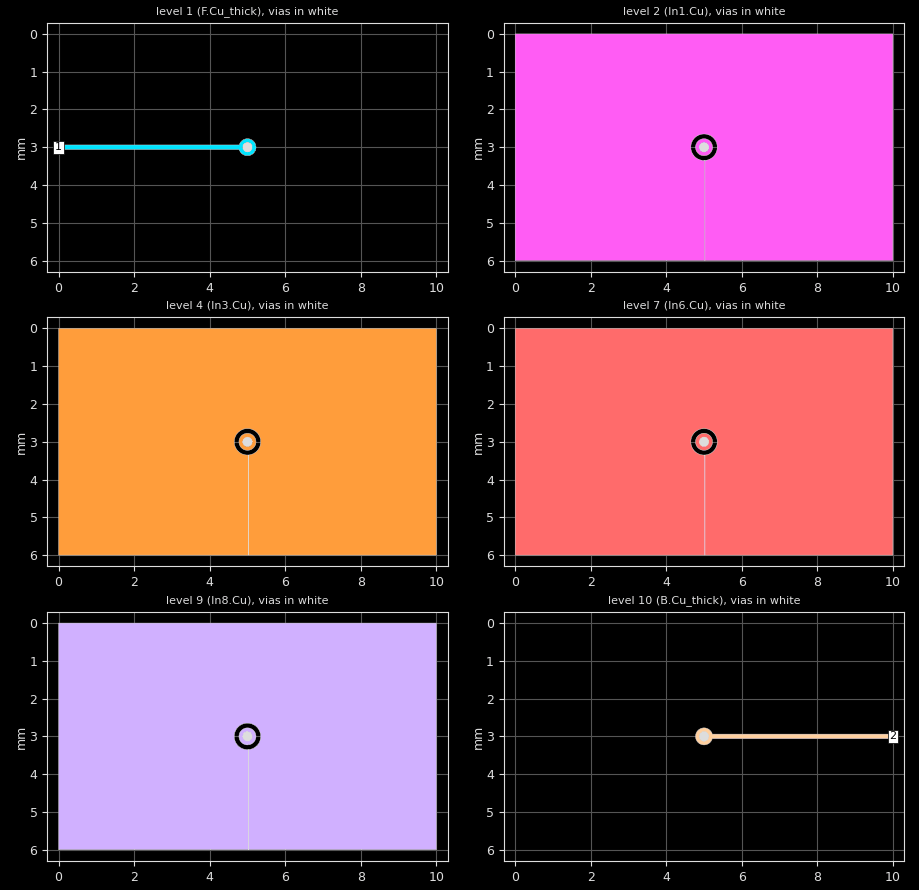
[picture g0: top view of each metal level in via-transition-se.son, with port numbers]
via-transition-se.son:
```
FTYP SONPROJ 19 ! Sonnet Project File
VER 18.56
HEADER
LIC antikernel2.1.52448
DAT 12/29/2023 07:23:59
BUILT_BY_CREATED xgeom 18.52 11/18/2021 20:28:07
BUILT_BY_SAVED sonnet 18.56
MDATE 12/29/2023 07:23:47
HDATE 12/29/2023 07:23:47
ANN Created by dxfgeo, Sonnet Software Inc.
END HEADER
DIM
ANG DEG
CAP PF
CON /OH
FREQ GHZ
IND NH
LNG MM
RES OH
END DIM
CONTROL
VARSWP
OPTIONS  -dj
SPEED 1
CACHE_ABS 2
Q_ACC N
END CONTROL
GEO
SYM
TMET "Free Space" 0 FREESPACE 376.7303136 0 0 0
BMET "Free Space" 0 FREESPACE 376.7303136 0 0 0
MET "Copper_1oz_thin" 1 NOR 58000000 0.5 0.035 
MET "Copper_1oz_thick" 2 TMM 58000000 0.5 0.035 2
MET "Copper_1oz_thick_down" 3 TMM 58000000 0.5 0.035 2 CDVY TDWN
MET "Copper_0.5oz_thin" 4 NOR 58000000 0.5 0.017 
MET "Copper_0.5oz_thick" 12 TMM 58000000 0.5 0.017 2
MET "Copper_0.5oz_thick_down" 5 TMM 58000000 0.5 0.017 2 CDVY TDWN
BOX 12 10 6 2000 1200 20 0
      5 1 1 0 0 0 0 "Air"
      0.04 3.5 1 0.025 0 0 0 "Soldermask"
      0.071 3.9 1 0.008 0 0 0 "TU-872_SLK"
      0.1 3.9 1 0.008 0 0 0 "TU-872_SLK"
      0.119 3.9 1 0.008 0 0 0 "TU-872_SLK"
      0.1 4.49 1 0.016 0 0 0 "Shengyi_S1000-2M"
      0.5 4.49 1 0.016 0 0 0 "Shengyi_S1000-2M"
      0.1 4.49 1 0.016 0 0 0 "Shengyi_S1000-2M"
      0.119 3.9 1 0.008 0 0 0 "TU-872_SLK"
      0.1 3.9 1 0.008 0 0 0 "TU-872_SLK"
      0.071 3.9 1 0.008 0 0 0 "TU-872_SLK"
      0.04 3.5 1 0.025 0 0 0 "Soldermask"
      5 1 1 0 0 0 0 "Air"
TECHLAY VIA Via1 L4D0 -13 -65534 CAD Via1 drawing 
VIA POLYGON
1 0 -1 N 398 1 1 100 100 0 0 0 Y
TOLEVEL 10 RING NOCOVERS
END
END
TECHLAY METAL F.Cu_thick L1D0 -2 -65534 CAD F.Cu_thick drawing 
1 0 1 N 331 1 1 100 100 0 0 0 Y
END
END
TECHLAY METAL F.Cu_thin <UNSPECIFIED> -1 -65534 CAD F.Cu_thin drawing 
1 0 0 N 335 1 1 100 100 0 0 0 Y
END
END
TECHLAY METAL In1.Cu L2D0 -3 -65534 CAD In1.Cu drawing 
2 0 0 N 338 1 1 100 100 0 0 0 Y
END
END
TECHLAY METAL In2.Cu_thick <UNSPECIFIED> -5 -65534 CAD In2.Cu_thick drawing 
3 0 4 N 341 1 1 100 100 0 0 0 Y
END
END
TECHLAY METAL In2.Cu_thin <UNSPECIFIED> -4 -65534 CAD In2.Cu drawing 
3 0 3 N 343 1 1 100 100 0 0 0 Y
END
END
TECHLAY METAL In3.Cu <UNSPECIFIED> -6 -65534 CAD In3.Cu drawing 
4 0 0 N 346 1 1 100 100 0 0 0 Y
END
END
TECHLAY METAL In4.Cu <UNSPECIFIED> -7 -65534 CAD In4.Cu drawing 
5 0 0 N 349 1 1 100 100 0 0 0 Y
END
END
TECHLAY METAL In5.Cu <UNSPECIFIED> -14 -65534 
6 0 0 N 352 1 1 100 100 0 0 0 Y
END
END
TECHLAY METAL In6.Cu <UNSPECIFIED> -15 -65534 
7 0 0 N 355 1 1 100 100 0 0 0 Y
END
END
TECHLAY METAL In7.Cu_thick <UNSPECIFIED> -9 -65534 CAD In5.Cu_thick drawing 
8 0 5 N 358 1 1 100 100 0 0 0 Y
END
END
TECHLAY METAL In7.Cu_thin <UNSPECIFIED> -8 -65534 CAD In5.Cu drawing 
8 0 3 N 360 1 1 100 100 0 0 0 Y
END
END
TECHLAY METAL In8.Cu <UNSPECIFIED> -10 -65534 CAD In6.Cu drawing 
9 0 0 N 363 1 1 100 100 0 0 0 Y
END
END
TECHLAY METAL B.Cu_thick L3D0 -12 -65534 CAD B.Cu_thick drawing 
10 0 2 N 366 1 1 100 100 0 0 0 Y
END
END
TECHLAY METAL B.Cu_thin <UNSPECIFIED> -11 -65534 CAD B.Cu_thin drawing 
10 0 0 N 370 1 1 100 100 0 0 0 Y
END
END
VALVAR CORE_ER NONE "table1(\"../../sata-sniffer/sims/core_er.csv\",FREQ)" "Variable set in material file"
VALVAR CORE_DF NONE "table1(\"../../sata-sniffer/sims/core_df.csv\",FREQ)" "Variable set in material file"
VALVAR PREPREG_DF NONE "table1(\"../../sata-sniffer/sims/prepreg_df.csv\",FREQ)" "Variable set in material file"
VALVAR PREPREG_ER NONE "table1(\"../../sata-sniffer/sims/prepreg_er.csv\",FREQ)" "Variable set in material file"
LORGN 0 6 U 
POR1 BOX
POLY 407 1
35
1 50 0 0 0 5.551115123e-17 3 
POR1 BOX
POLY 408 1
35
2 50 0 0 0 10 3 
NUM 11
VIA POLYGON
1 49 -1 N 411 1 1 100 100 0 0 0 Y
TOLEVEL 10 RING NOCOVERS
TLAYNAM Via1 INH
5.125 3.008192933
5.122861215 3.024438615
5.118620241 3.040266146
5.112349642 3.055404712
5.104156709 3.069595288
5.094181626 3.082595069
5.082595069 3.094181626
5.069595288 3.104156709
5.055404712 3.112349642
5.040266146 3.118620241
5.024438615 3.122861215
5.008192933 3.125
4.991807067 3.125
4.975561385 3.122861215
4.959733854 3.118620241
4.944595288 3.112349642
4.930404712 3.104156709
4.917404931 3.094181626
4.905818374 3.082595069
4.895843291 3.069595288
4.887650358 3.055404712
4.881379759 3.040266146
4.877138785 3.024438615
4.875 3.008192933
4.875 2.991807067
4.877138785 2.975561385
4.881379759 2.959733854
4.887650358 2.944595288
4.895843291 2.930404712
4.905818374 2.917404931
4.917404931 2.905818374
4.930404712 2.895843291
4.944595288 2.887650358
4.959733854 2.881379759
4.975561385 2.877138785
4.991807067 2.875
5.008192933 2.875
5.024438615 2.877138785
5.040266146 2.881379759
5.055404712 2.887650358
5.069595288 2.895843291
5.082595069 2.905818374
5.094181626 2.917404931
5.104156709 2.930404712
5.112349642 2.944595288
5.118620241 2.959733854
5.122861215 2.975561385
5.125 2.991807067
5.125 3.008192933
END
1 50 1 N 407 1 1 100 100 0 0 0 Y
TLAYNAM F.Cu_thick INH
5.043989507 3.221150188
5.072479063 3.213516434
5.099728482 3.202229355
5.125271518 3.187482076
5.148671125 3.169526927
5.169526927 3.148671125
5.187482076 3.125271518
5.202229355 3.099728482
5.213516434 3.072479063
5.221150188 3.043989507
5.225 3.014747279
5.225 3.014747279
5.225 2.985252721
5.221150188 2.956010493
5.213516434 2.927520937
5.202229355 2.900271518
5.187482076 2.874728482
5.169526927 2.851328875
5.148671125 2.830473073
5.125271518 2.812517924
5.099728482 2.797770645
5.072479063 2.786483566
5.043989507 2.778849812
5.014747279 2.775
4.985252721 2.775
4.956010493 2.778849812
4.927520937 2.786483566
4.900271518 2.797770645
4.874728482 2.812517924
4.851328875 2.830473073
4.830473073 2.851328875
4.812517924 2.874728482
4.797770645 2.900271518
4.786483566 2.927520937
4.783139811 2.94
5.551115123e-17 2.94
5.551115123e-17 3.06
4.783139811 3.06
4.786483566 3.072479063
4.797770645 3.099728482
4.812517924 3.125271518
4.830473073 3.148671125
4.851328875 3.169526927
4.874728482 3.187482076
4.900271518 3.202229355
4.927520937 3.213516434
4.956010493 3.221150188
4.985252721 3.225
5.014747279 3.225
5.043989507 3.221150188
END
2 58 0 N 414 1 1 100 100 0 0 0 Y
TLAYNAM In1.Cu INH
10 0
0 0
0 6
5.022940212 6
5.022940212 3.35
4.977059788 3.35
4.931571877 3.344011403
4.887254791 3.332136675
4.844866806 3.314578997
4.805133194 3.291638785
4.768733806 3.263708553
4.736291447 3.231266194
4.708361215 3.194866806
4.685421003 3.155133194
4.667863325 3.112745209
4.655988597 3.068428123
4.65 3.022940212
4.65 2.977059788
4.655988597 2.931571877
4.667863325 2.887254791
4.685421003 2.844866806
4.708361215 2.805133194
4.736291447 2.768733806
4.768733806 2.736291447
4.805133194 2.708361215
4.844866806 2.685421003
4.887254791 2.667863325
4.931571877 2.655988597
4.977059788 2.65
5.022940212 2.65
5.068428123 2.655988597
5.112745209 2.667863325
5.155133194 2.685421003
5.194866806 2.708361215
5.231266194 2.736291447
5.263708553 2.768733806
5.291638785 2.805133194
5.314578997 2.844866806
5.332136675 2.887254791
5.344011403 2.931571877
5.35 2.977059788
5.35 3.022940212
5.35 3.022940212
5.35 3.022940212
5.344011403 3.068428123
5.332136675 3.112745209
5.314578997 3.155133194
5.291638785 3.194866806
5.263708553 3.231266194
5.231266194 3.263708553
5.194866806 3.291638785
5.155133194 3.314578997
5.112745209 3.332136675
5.068428123 3.344011403
5.022940212 3.35
5.022940212 6
10 6
10 0
END
2 51 0 N 415 1 1 100 100 0 0 0 Y
TLAYNAM In1.Cu INH
5.225 3.014747279
5.221150188 3.043989507
5.213516434 3.072479063
5.202229355 3.099728482
5.187482076 3.125271518
5.169526927 3.148671125
5.148671125 3.169526927
5.125271518 3.187482076
5.099728482 3.202229355
5.072479063 3.213516434
5.043989507 3.221150188
5.014747279 3.225
4.985252721 3.225
4.956010493 3.221150188
4.927520937 3.213516434
4.900271518 3.202229355
4.874728482 3.187482076
4.851328875 3.169526927
4.830473073 3.148671125
4.812517924 3.125271518
4.797770645 3.099728482
4.786483566 3.072479063
4.778849812 3.043989507
4.775 3.014747279
4.775 2.985252721
4.778849812 2.956010493
4.786483566 2.927520937
4.797770645 2.900271518
4.812517924 2.874728482
4.830473073 2.851328875
4.851328875 2.830473073
4.874728482 2.812517924
4.900271518 2.797770645
4.927520937 2.786483566
4.956010493 2.778849812
4.985252721 2.775
5.014747279 2.775
5.043989507 2.778849812
5.072479063 2.786483566
5.099728482 2.797770645
5.125271518 2.812517924
5.148671125 2.830473073
5.169526927 2.851328875
5.187482076 2.874728482
5.202229355 2.900271518
5.213516434 2.927520937
5.221150188 2.956010493
5.225 2.985252721
5.225 3.014747279
5.225 3.014747279
5.225 3.014747279
END
4 58 0 N 416 1 1 100 100 0 0 0 Y
TLAYNAM In3.Cu INH
10 0
0 0
0 6
5.022940212 6
5.022940212 3.35
4.977059788 3.35
4.931571877 3.344011403
4.887254791 3.332136675
4.844866806 3.314578997
4.805133194 3.291638785
4.768733806 3.263708553
4.736291447 3.231266194
4.708361215 3.194866806
4.685421003 3.155133194
4.667863325 3.112745209
4.655988597 3.068428123
4.65 3.022940212
4.65 2.977059788
4.655988597 2.931571877
4.667863325 2.887254791
4.685421003 2.844866806
4.708361215 2.805133194
4.736291447 2.768733806
4.768733806 2.736291447
4.805133194 2.708361215
4.844866806 2.685421003
4.887254791 2.667863325
4.931571877 2.655988597
4.977059788 2.65
5.022940212 2.65
5.068428123 2.655988597
5.112745209 2.667863325
5.155133194 2.685421003
5.194866806 2.708361215
5.231266194 2.736291447
5.263708553 2.768733806
5.291638785 2.805133194
5.314578997 2.844866806
5.332136675 2.887254791
5.344011403 2.931571877
5.35 2.977059788
5.35 3.022940212
5.35 3.022940212
5.35 3.022940212
5.344011403 3.068428123
5.332136675 3.112745209
5.314578997 3.155133194
5.291638785 3.194866806
5.263708553 3.231266194
5.231266194 3.263708553
5.194866806 3.291638785
5.155133194 3.314578997
5.112745209 3.332136675
5.068428123 3.344011403
5.022940212 3.35
5.022940212 6
10 6
10 0
END
4 51 0 N 417 1 1 100 100 0 0 0 Y
TLAYNAM In3.Cu INH
5.225 3.014747279
5.221150188 3.043989507
5.213516434 3.072479063
5.202229355 3.099728482
5.187482076 3.125271518
5.169526927 3.148671125
5.148671125 3.169526927
5.125271518 3.187482076
5.099728482 3.202229355
5.072479063 3.213516434
5.043989507 3.221150188
5.014747279 3.225
4.985252721 3.225
4.956010493 3.221150188
4.927520937 3.213516434
4.900271518 3.202229355
4.874728482 3.187482076
4.851328875 3.169526927
4.830473073 3.148671125
4.812517924 3.125271518
4.797770645 3.099728482
4.786483566 3.072479063
4.778849812 3.043989507
4.775 3.014747279
4.775 2.985252721
4.778849812 2.956010493
4.786483566 2.927520937
4.797770645 2.900271518
4.812517924 2.874728482
4.830473073 2.851328875
4.851328875 2.830473073
4.874728482 2.812517924
4.900271518 2.797770645
4.927520937 2.786483566
4.956010493 2.778849812
4.985252721 2.775
5.014747279 2.775
5.043989507 2.778849812
5.072479063 2.786483566
5.099728482 2.797770645
5.125271518 2.812517924
5.148671125 2.830473073
5.169526927 2.851328875
5.187482076 2.874728482
5.202229355 2.900271518
5.213516434 2.927520937
5.221150188 2.956010493
5.225 2.985252721
5.225 3.014747279
5.225 3.014747279
5.225 3.014747279
END
7 58 0 N 418 1 1 100 100 0 0 0 Y
TLAYNAM In6.Cu INH
10 0
0 0
0 6
5.022940212 6
5.022940212 3.35
4.977059788 3.35
4.931571877 3.344011403
4.887254791 3.332136675
4.844866806 3.314578997
4.805133194 3.291638785
4.768733806 3.263708553
4.736291447 3.231266194
4.708361215 3.194866806
4.685421003 3.155133194
4.667863325 3.112745209
4.655988597 3.068428123
4.65 3.022940212
4.65 2.977059788
4.655988597 2.931571877
4.667863325 2.887254791
4.685421003 2.844866806
4.708361215 2.805133194
4.736291447 2.768733806
4.768733806 2.736291447
4.805133194 2.708361215
4.844866806 2.685421003
4.887254791 2.667863325
4.931571877 2.655988597
4.977059788 2.65
5.022940212 2.65
5.068428123 2.655988597
5.112745209 2.667863325
5.155133194 2.685421003
5.194866806 2.708361215
5.231266194 2.736291447
5.263708553 2.768733806
5.291638785 2.805133194
5.314578997 2.844866806
5.332136675 2.887254791
5.344011403 2.931571877
5.35 2.977059788
5.35 3.022940212
5.35 3.022940212
5.35 3.022940212
5.344011403 3.068428123
5.332136675 3.112745209
5.314578997 3.155133194
5.291638785 3.194866806
5.263708553 3.231266194
5.231266194 3.263708553
5.194866806 3.291638785
5.155133194 3.314578997
5.112745209 3.332136675
5.068428123 3.344011403
5.022940212 3.35
5.022940212 6
10 6
10 0
END
7 51 0 N 419 1 1 100 100 0 0 0 Y
TLAYNAM In6.Cu INH
5.225 3.014747279
5.221150188 3.043989507
5.213516434 3.072479063
5.202229355 3.099728482
5.187482076 3.125271518
5.169526927 3.148671125
5.148671125 3.169526927
5.125271518 3.187482076
5.099728482 3.202229355
5.072479063 3.213516434
5.043989507 3.221150188
5.014747279 3.225
4.985252721 3.225
4.956010493 3.221150188
4.927520937 3.213516434
4.900271518 3.202229355
4.874728482 3.187482076
4.851328875 3.169526927
4.830473073 3.148671125
4.812517924 3.125271518
4.797770645 3.099728482
4.786483566 3.072479063
4.778849812 3.043989507
4.775 3.014747279
4.775 2.985252721
4.778849812 2.956010493
4.786483566 2.927520937
4.797770645 2.900271518
4.812517924 2.874728482
4.830473073 2.851328875
4.851328875 2.830473073
4.874728482 2.812517924
4.900271518 2.797770645
4.927520937 2.786483566
4.956010493 2.778849812
4.985252721 2.775
5.014747279 2.775
5.043989507 2.778849812
5.072479063 2.786483566
5.099728482 2.797770645
5.125271518 2.812517924
5.148671125 2.830473073
5.169526927 2.851328875
5.187482076 2.874728482
5.202229355 2.900271518
5.213516434 2.927520937
5.221150188 2.956010493
5.225 2.985252721
5.225 3.014747279
5.225 3.014747279
5.225 3.014747279
END
9 58 0 N 420 1 1 100 100 0 0 0 Y
TLAYNAM In8.Cu INH
10 0
0 0
0 6
5.022940212 6
5.022940212 3.35
4.977059788 3.35
4.931571877 3.344011403
4.887254791 3.332136675
4.844866806 3.314578997
4.805133194 3.291638785
4.768733806 3.263708553
4.736291447 3.231266194
4.708361215 3.194866806
4.685421003 3.155133194
4.667863325 3.112745209
4.655988597 3.068428123
4.65 3.022940212
4.65 2.977059788
4.655988597 2.931571877
4.667863325 2.887254791
4.685421003 2.844866806
4.708361215 2.805133194
4.736291447 2.768733806
4.768733806 2.736291447
4.805133194 2.708361215
4.844866806 2.685421003
4.887254791 2.667863325
4.931571877 2.655988597
4.977059788 2.65
5.022940212 2.65
5.068428123 2.655988597
5.112745209 2.667863325
5.155133194 2.685421003
5.194866806 2.708361215
5.231266194 2.736291447
5.263708553 2.768733806
5.291638785 2.805133194
5.314578997 2.844866806
5.332136675 2.887254791
5.344011403 2.931571877
5.35 2.977059788
5.35 3.022940212
5.35 3.022940212
5.35 3.022940212
5.344011403 3.068428123
5.332136675 3.112745209
5.314578997 3.155133194
5.291638785 3.194866806
5.263708553 3.231266194
5.231266194 3.263708553
5.194866806 3.291638785
5.155133194 3.314578997
5.112745209 3.332136675
5.068428123 3.344011403
5.022940212 3.35
5.022940212 6
10 6
10 0
END
9 51 0 N 421 1 1 100 100 0 0 0 Y
TLAYNAM In8.Cu INH
5.225 3.014747279
5.221150188 3.043989507
5.213516434 3.072479063
5.202229355 3.099728482
5.187482076 3.125271518
5.169526927 3.148671125
5.148671125 3.169526927
5.125271518 3.187482076
5.099728482 3.202229355
5.072479063 3.213516434
5.043989507 3.221150188
5.014747279 3.225
4.985252721 3.225
4.956010493 3.221150188
4.927520937 3.213516434
4.900271518 3.202229355
4.874728482 3.187482076
4.851328875 3.169526927
4.830473073 3.148671125
4.812517924 3.125271518
4.797770645 3.099728482
4.786483566 3.072479063
4.778849812 3.043989507
4.775 3.014747279
4.775 2.985252721
4.778849812 2.956010493
4.786483566 2.927520937
4.797770645 2.900271518
4.812517924 2.874728482
4.830473073 2.851328875
4.851328875 2.830473073
4.874728482 2.812517924
4.900271518 2.797770645
4.927520937 2.786483566
4.956010493 2.778849812
4.985252721 2.775
5.014747279 2.775
5.043989507 2.778849812
5.072479063 2.786483566
5.099728482 2.797770645
5.125271518 2.812517924
5.148671125 2.830473073
5.169526927 2.851328875
5.187482076 2.874728482
5.202229355 2.900271518
5.213516434 2.927520937
5.221150188 2.956010493
5.225 2.985252721
5.225 3.014747279
5.225 3.014747279
5.225 3.014747279
END
10 50 2 N 408 1 1 100 100 0 0 0 Y
TLAYNAM B.Cu_thick INH
4.95601 3.22115
4.927521 3.213516
4.900272 3.202229
4.874728 3.187482
4.851329 3.169527
4.830473 3.148671
4.812518 3.125272
4.797771 3.099728
4.786484 3.072479
4.77885 3.04399
4.775 3.014747
4.775 3.014747
4.775 2.985253
4.77885 2.95601
4.786484 2.927521
4.797771 2.900272
4.812518 2.874728
4.830473 2.851329
4.851329 2.830473
4.874728 2.812518
4.900272 2.797771
4.927521 2.786484
4.95601 2.77885
4.985253 2.775
5.014747 2.775
5.04399 2.77885
5.072479 2.786484
5.099728 2.797771
5.125272 2.812518
5.148671 2.830473
5.169527 2.851329
5.187482 2.874728
5.202229 2.900272
5.213516 2.927521
5.21686 2.94
10 2.94
10 3.06
5.21686 3.06
5.213516 3.072479
5.202229 3.099728
5.187482 3.125272
5.169527 3.148671
5.148671 3.169527
5.125272 3.187482
5.099728 3.202229
5.072479 3.213516
5.04399 3.22115
5.014747 3.225
4.985253 3.225
4.95601 3.22115
END
END GEO
OPT
MAX 100
END OPT
VARSWP
ENABLED Y
FREQ Y AY ABS_ENTRY 0.01 16.0 -1 300 
END
END VARSWP
```
